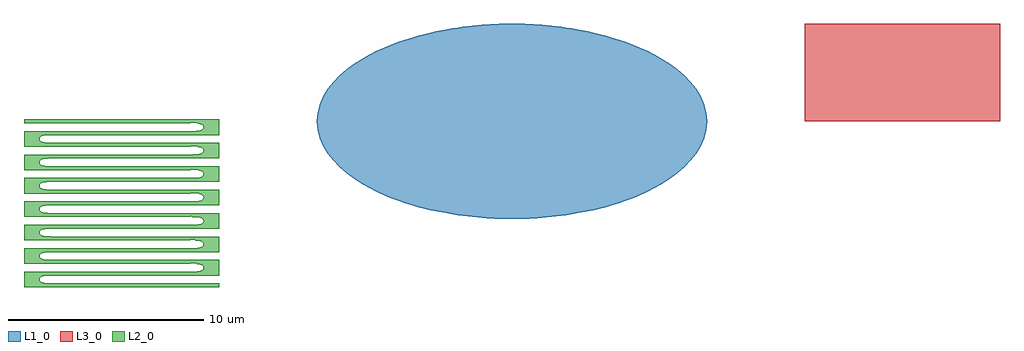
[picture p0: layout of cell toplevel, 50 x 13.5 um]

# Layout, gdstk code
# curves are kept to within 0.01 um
from math import pi, radians
import gdstk
lib = gdstk.Library(unit=1e-6, precision=1e-09)
def R(c, l, rs):  # rectangles x0, y0, x1, y1
    for r in rs: c.add(gdstk.rectangle(r[:2], r[2:], *l))
def P(c, l, *ps):  # polygons
    for p in ps: c.add(gdstk.Polygon(p, *l))
L1_0 = (1, 0)
L2_0 = (2, 0)
L3_0 = (3, 0)

ellipse = lib.new_cell('ellipse')
P(ellipse, L1_0, [(10,0),(9.962,0.435),(9.85,0.862),(9.67,1.273),(9.431,1.663),(9.142,2.027),(8.814,2.362),(8.459,2.667),(8.085,2.943),(7.701,3.19),(7.313,3.41),(6.927,3.606),(6.174,3.933),(5.459,4.189),(4.79,4.389),(3.869,4.611),(3.035,4.764),(2.028,4.896),(1.102,4.97),(0,5),(-1.102,4.97),(-2.028,4.896),(-3.035,4.764),(-3.869,4.611),(-4.79,4.389),(-5.459,4.189),(-6.174,3.933),(-6.927,3.606),(-7.313,3.41),(-7.701,3.19),(-8.085,2.943),(-8.459,2.667),(-8.814,2.362),(-9.142,2.027),(-9.431,1.663),(-9.67,1.273),(-9.85,0.862),(-9.962,0.435),(-10,0),(-9.962,-0.435),(-9.85,-0.862),(-9.67,-1.273),(-9.431,-1.663),(-9.142,-2.027),(-8.814,-2.362),(-8.459,-2.667),(-8.085,-2.943),(-7.701,-3.19),(-7.313,-3.41),(-6.927,-3.606),(-6.174,-3.933),(-5.459,-4.189),(-4.79,-4.389),(-3.869,-4.611),(-3.035,-4.764),(-2.028,-4.896),(-1.102,-4.97),(0,-5),(1.102,-4.97),(2.028,-4.896),(3.035,-4.764),(3.869,-4.611),(4.79,-4.389),(5.459,-4.189),(6.174,-3.933),(6.927,-3.606),(7.313,-3.41),(7.701,-3.19),(8.085,-2.943),(8.459,-2.667),(8.814,-2.362),(9.142,-2.027),(9.431,-1.663),(9.67,-1.273),(9.85,-0.862),(9.962,-0.435)])

rectangle = lib.new_cell('rectangle')
R(rectangle, L2_0, [(0,0,5,0.2)])

compass = lib.new_cell('compass')
compass.add(gdstk.Reference(rectangle, (-2.5,-0.1)))

hairpin = lib.new_cell('hairpin')
P(hairpin, L2_0, [(-0.59,-0.2),(-0.24,-0.191),(-0.068,-0.163),(0.053,-0.095),(0.092,0),(0.892,0),(0.892,-0.4),(-4.108,-0.4),(-4.108,-0.2)],
  [(-0.59,0.2),(-0.24,0.191),(-0.068,0.163),(0.053,0.095),(0.092,0),(0.892,0),(0.892,0.4),(-4.108,0.4),(-4.108,0.2)])

rectangle001 = lib.new_cell('rectangle001')
R(rectangle001, L2_0, [(0,0,5,0.2)])

compass001 = lib.new_cell('compass001')
compass001.add(gdstk.Reference(rectangle001, (-2.5,-0.1)))

snspd = lib.new_cell('snspd')
snspd.add(gdstk.Reference(compass, (0,0)))
snspd.add(gdstk.Reference(hairpin, (6.608,-0.3)))
snspd.add(gdstk.Reference(hairpin, (-1.608,-0.9), rotation=pi))
snspd.add(gdstk.Reference(hairpin, (6.608,-1.5)))
snspd.add(gdstk.Reference(hairpin, (-1.608,-2.1), rotation=pi))
snspd.add(gdstk.Reference(hairpin, (6.608,-2.7)))
snspd.add(gdstk.Reference(hairpin, (-1.608,-3.3), rotation=pi))
snspd.add(gdstk.Reference(hairpin, (6.608,-3.9)))
snspd.add(gdstk.Reference(hairpin, (-1.608,-4.5), rotation=pi))
snspd.add(gdstk.Reference(hairpin, (6.608,-5.1)))
snspd.add(gdstk.Reference(hairpin, (-1.608,-5.7), rotation=pi))
snspd.add(gdstk.Reference(hairpin, (6.608,-6.3)))
snspd.add(gdstk.Reference(hairpin, (-1.608,-6.9), rotation=pi))
snspd.add(gdstk.Reference(hairpin, (6.608,-7.5)))
snspd.add(gdstk.Reference(hairpin, (-1.608,-8.1), rotation=pi))
snspd.add(gdstk.Reference(compass001, (5,-8.4), rotation=pi))

rectangle002 = lib.new_cell('rectangle002')
R(rectangle002, L3_0, [(0,0,10,5)])

toplevel = lib.new_cell('toplevel')
toplevel.add(gdstk.Reference(ellipse, (22.5,0)))
toplevel.add(gdstk.Reference(snspd, (0,0)))
toplevel.add(gdstk.Reference(rectangle002, (37.5,0)))

lib.write_gds('toplevel.gds')
